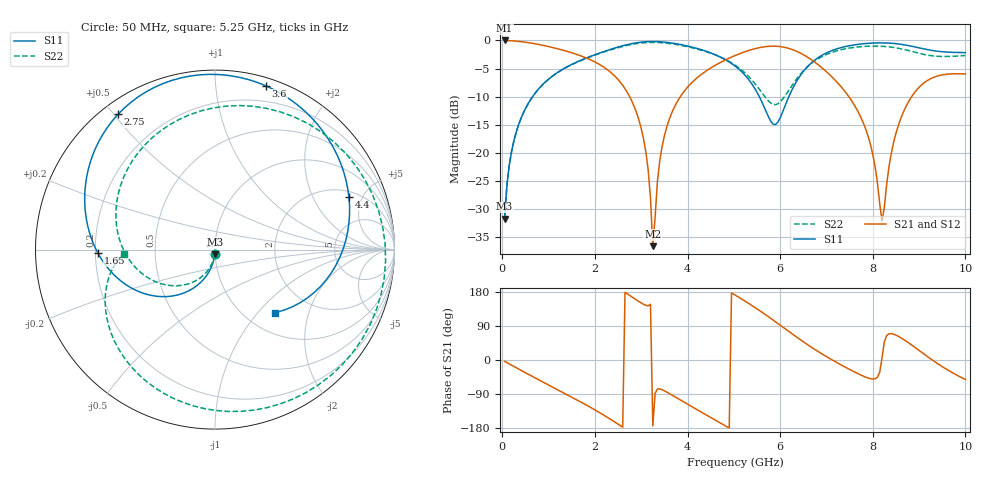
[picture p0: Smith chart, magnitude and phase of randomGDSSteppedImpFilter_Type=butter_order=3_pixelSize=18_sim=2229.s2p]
! freq	dB(S11)	phase(S11)	dB(S12)	phase(S12)
!  dB(S21)	phase(S21)	dB(S22)	phase(S22)
!S-par simulation data
#  GHz  S  DB  R 50
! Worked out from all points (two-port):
!   200 points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, 50 MHz to 10 GHz, reference 50 ohm
!   highest |S21| = -0.01 dB at 50 MHz (marker M1); lowest = -36.6 dB at 3.25 GHz (marker M2)
!   |S21| within 3 dB of the highest: start of sweep to 1.778 GHz; 4.938 GHz to 6.596 GHz (1.659 GHz wide, 28.8 % of centre)
!   lowest |S11| = -31.7 dB at 50 MHz (marker M3), VSWR 1.05, Z = 49.8 - j2.59 ohm
!   |S11| at or under -10 dB: start of sweep to 654.6 MHz; 5.55 GHz to 6.189 GHz (638.6 MHz wide, 10.9 % of centre)
!   |S22| runs from -31.7 to -0.4 dB; largest |S21 - S12| = 0
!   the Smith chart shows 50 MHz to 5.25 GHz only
!   S11 on the Smith chart (normalised r, x): 50 MHz: 1.00, -0.05; 1.65 GHz: 0.21, -0.01; 2.75 GHz: 0.05, +0.51; 3.6 GHz: 0.07, +1.36; 4.4 GHz: 2.40, +3.91; 5.25 GHz: 1.35, -1.24
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0.05  -31.70 -93.0  -0.01 -3.4  -0.01 -3.4  -31.70 -93.9
0.2  -19.75 -102.2  -0.07 -13.6  -0.07 -13.6  -19.77 -105.8
0.45  -12.98 -116.6  -0.27 -30.2  -0.27 -30.2  -12.99 -125.0
1.65  -3.69 -178.4  -2.61 -107.8  -2.61 -107.8  -3.74 141.4
1.75  -3.34 176.8  -2.92 -114.4  -2.92 -114.4  -3.40 132.8
2.3  -1.69 150.1  -5.40 -153.6  -5.40 -153.6  -1.79 80.3
2.75  -0.65 125.5  -10.00 170.4  -10.00 170.4  -0.79 30.7
3.1  -0.24 104.2  -19.85 144.3  -19.85 144.3  -0.39 -9.4
3.25  -0.20 94.8  -36.59 -173.8  -36.59 -173.8  -0.35 -26.2
3.4  -0.24 85.3  -21.45 -76.3  -21.45 -76.3  -0.39 -42.2
3.6  -0.40 72.6  -14.16 -88.0  -14.16 -88.0  -0.55 -62.3
4.4  -1.93 21.3  -5.44 -144.7  -5.44 -144.7  -1.99 -127.7
5.05  -4.71 -27.6  -2.61 169.7  -2.61 169.7  -4.53 -167.8
5.25  -6.27 -46.3  -1.98 154.8  -1.98 154.8  -5.86 -177.4
6  -13.78 150.5  -1.09 92.0  -1.09 92.0  -10.96 -159.7
6.7  -3.81 44.0  -3.58 31.7  -3.58 31.7  -3.93 -170.4
7.8  -0.59 -33.7  -14.76 -42.7  -14.76 -42.7  -1.08 113.7
8.2  -0.44 -55.1  -32.14 5.7  -32.14 5.7  -1.05 77.1
8.35  -0.48 -62.7  -22.47 68.9  -22.47 68.9  -1.15 60.7
8.8  -0.97 -83.4  -10.51 43.0  -10.51 43.0  -1.86 0.7
9.25  -1.75 -98.9  -6.81 3.0  -6.81 3.0  -2.70 -69.8
10  -2.17 -119.1  -5.95 -51.5  -5.95 -51.5  -2.69 -162.0
